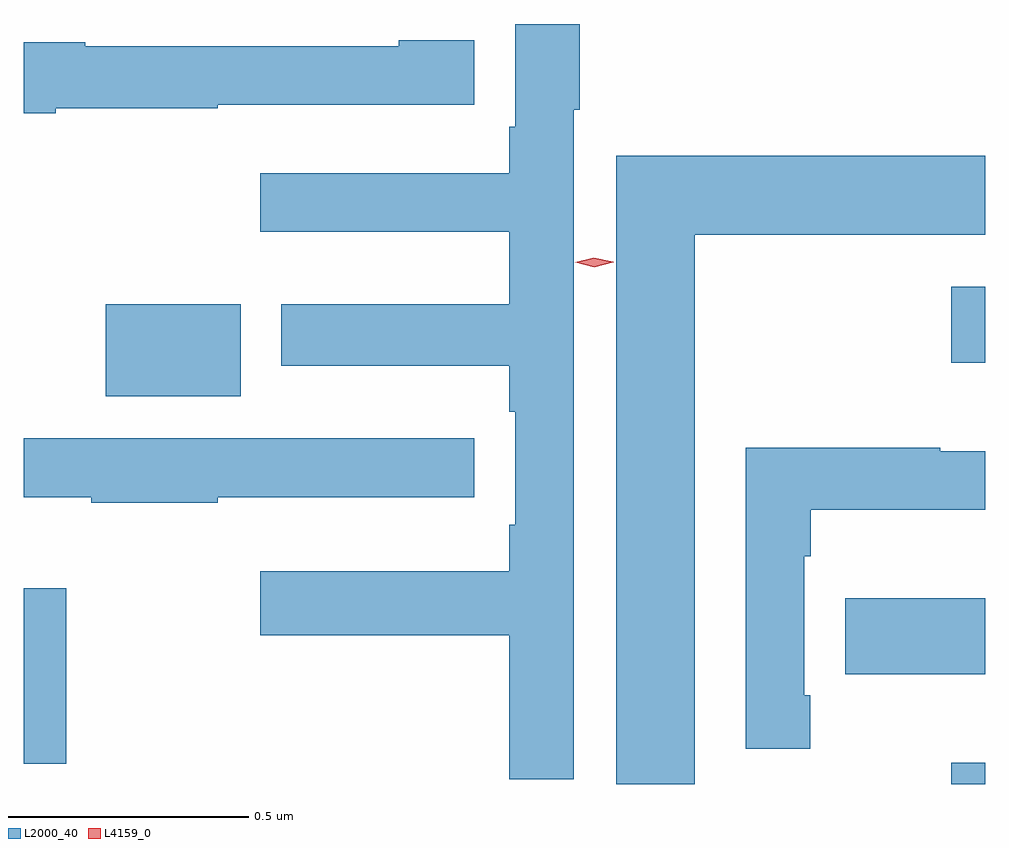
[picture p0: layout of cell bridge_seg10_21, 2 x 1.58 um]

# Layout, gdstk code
import gdstk
lib = gdstk.Library(unit=1e-6, precision=1e-09)
def R(c, l, rs):  # rectangles x0, y0, x1, y1
    for r in rs: c.add(gdstk.rectangle(r[:2], r[2:], *l))
def P(c, l, *ps):  # polygons
    for p in ps: c.add(gdstk.Polygon(p, *l))
L2000_40 = (2000, 40)
L4159_0 = (4159, 0)

bridge_seg10_21 = lib.new_cell('bridge_seg10_21')
R(bridge_seg10_21, L2000_40, [(1031.685,1329.419,1031.756,1329.463), (1029.756,1329.461,1029.844,1329.826), (1031.465,1329.647,1031.756,1329.805), (1029.926,1330.226,1030.207,1330.417), (1031.685,1330.295,1031.756,1330.453)])
P(bridge_seg10_21, L2000_40, [(1030.9,1330.822),(1030.913,1330.822),(1030.913,1331),(1030.778,1331),(1030.778,1330.786),(1030.766,1330.786),(1030.766,1330.69),(1030.248,1330.69),(1030.248,1330.568),(1030.766,1330.568),(1030.766,1330.417),(1030.292,1330.417),(1030.292,1330.289),(1030.766,1330.289),(1030.766,1330.193),(1030.778,1330.193),(1030.778,1329.958),(1030.766,1329.958),(1030.766,1329.862),(1030.248,1329.862),(1030.248,1329.728),(1030.766,1329.728),(1030.766,1329.429),(1030.9,1329.429)],
  [(1029.823,1330.825),(1030.16,1330.825),(1030.16,1330.832),(1030.693,1330.832),(1030.693,1330.966),(1030.536,1330.966),(1030.536,1330.954),(1029.884,1330.954),(1029.884,1330.962),(1029.756,1330.962),(1029.756,1330.814),(1029.823,1330.814)],
  [(1031.152,1330.562),(1031.756,1330.562),(1031.756,1330.726),(1030.988,1330.726),(1030.988,1329.419),(1031.152,1329.419)],
  [(1030.16,1330.016),(1030.693,1330.016),(1030.693,1330.138),(1029.756,1330.138),(1029.756,1330.016),(1029.896,1330.016),(1029.896,1330.004),(1030.16,1330.004)],
  [(1031.392,1329.604),(1031.38,1329.604),(1031.38,1329.893),(1031.393,1329.893),(1031.393,1329.989),(1031.756,1329.989),(1031.756,1330.111),(1031.662,1330.111),(1031.662,1330.119),(1031.258,1330.119),(1031.258,1329.492),(1031.392,1329.492)])
P(bridge_seg10_21, L4159_0, [(1030.943,1330.494),(1030.903,1330.504),(1030.902,1330.504),(1030.903,1330.504),(1030.942,1330.514),(1030.982,1330.505),(1030.983,1330.504),(1030.982,1330.504)])

lib.write_gds('bridge_seg10_21.gds')
